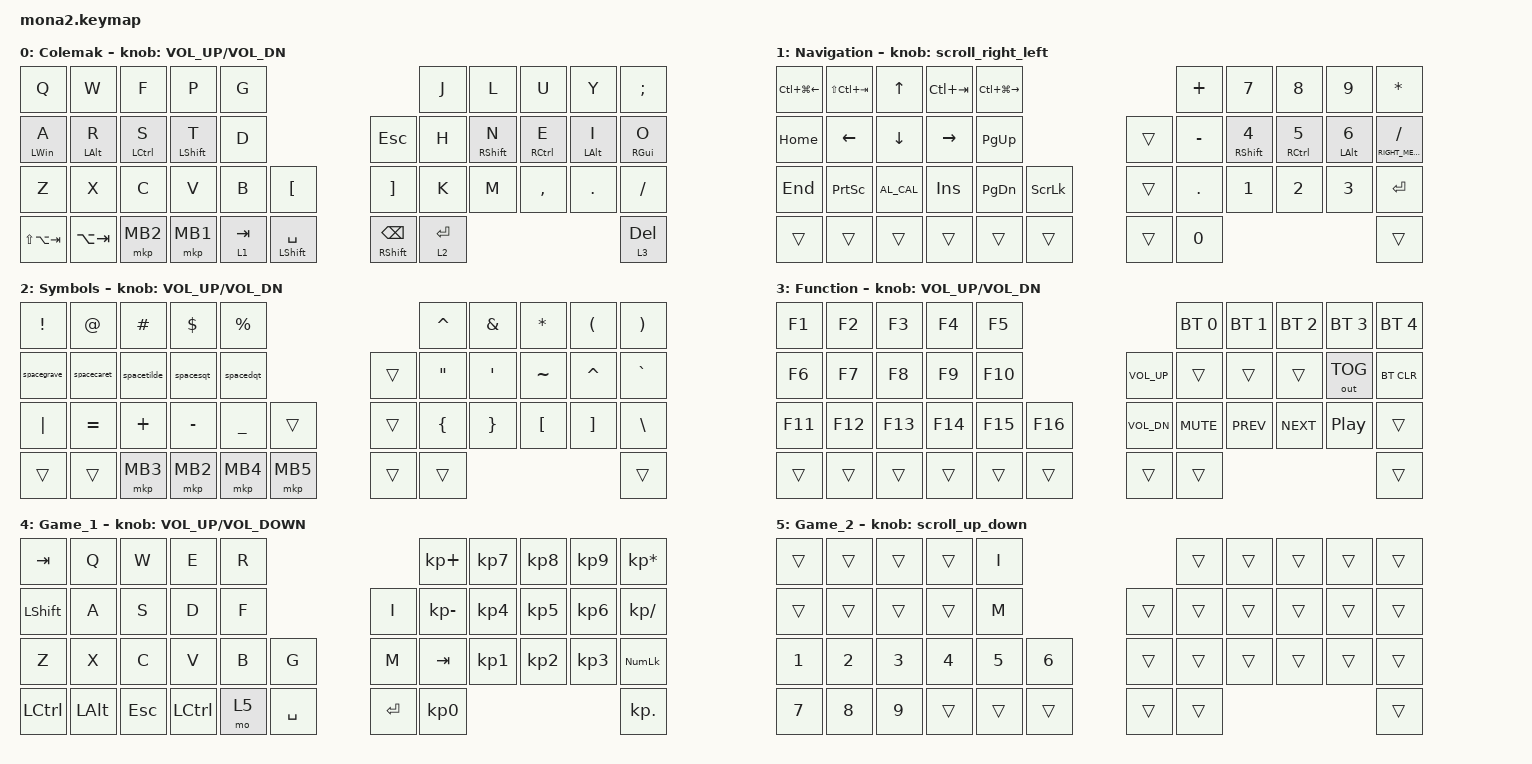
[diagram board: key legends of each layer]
#include <input/processors.dtsi>
#include <dt-bindings/zmk/input_transform.h>
#include <zephyr/dt-bindings/input/input-event-codes.h>
#include <behaviors.dtsi>
#include <dt-bindings/zmk/bt.h>
#include <dt-bindings/zmk/keys.h>
#include <dt-bindings/zmk/outputs.h>
#include <dt-bindings/zmk/pointing.h>

#define ZMK_POINTING_DEFAULT_SCRL_VAL 100
#define MOUSE 5
#define SCROLL 6

&mt {
    flavor = "balanced";
    quick-tap-ms = <0>;
};

&lt { flavor = "hold-preferred"; };

/ {
    combos {
        compatible = "zmk,combos";

        game1_layer {
            bindings = <&tog 4>;
            key-positions = <0 33>;
            layers = <0 1 2 3 5>;
            require-prior-idle-ms = <100>;
        };

        default_layer {
            bindings = <&to 0>;
            key-positions = <0 33>;
            layers = <4>;
            require-prior-idle-ms = <100>;
        };

        caps_word {
            bindings = <&caps_word>;
            key-positions = <38 39>;
            layers = <0>;
            require-prior-idle-ms = <100>;
        };

        backspace {
            bindings = <&kp BACKSPACE>;
            key-positions = <4 3>;
            layers = <0>;
            require-prior-idle-ms = <100>;
        };

        delete {
            bindings = <&kp DEL>;
            key-positions = <14 13>;
            layers = <0>;
            require-prior-idle-ms = <100>;
        };

        enter {
            bindings = <&kp ENTER>;
            key-positions = <25 24>;
            layers = <0>;
            require-prior-idle-ms = <100>;
        };

        esc {
            bindings = <&kp ESC>;
            key-positions = <0 1>;
            layers = <0 4>;
            require-prior-idle-ms = <100>;
        };
    };

    macros {
        spacedqt: spacedqt {
            compatible = "zmk,behavior-macro";
            #binding-cells = <0>;
            bindings = <&kp DQT &kp SPACE>;
            label = "SPACEDQT";
        };

        spacesqt: spacesqt {
            compatible = "zmk,behavior-macro";
            #binding-cells = <0>;
            bindings = <&kp SQT &kp SPACE>;
            label = "SPACESQT";
        };

        spacetilde: spacetilde {
            compatible = "zmk,behavior-macro";
            #binding-cells = <0>;
            bindings = <&kp TILDE &kp SPACE>;
            label = "SPACETILDE";
        };

        spacecaret: spacecaret {
            compatible = "zmk,behavior-macro";
            #binding-cells = <0>;
            bindings = <&kp CARET &kp SPACE>;
            label = "SPACECARET";
        };

        spacegrave: spacegrave {
            compatible = "zmk,behavior-macro";
            #binding-cells = <0>;
            bindings = <&kp GRAVE &kp SPACE>;
            label = "SPACEGRAVE";
        };
    };

    behaviors {
        scroll_up_down: mouse_wheel_up_down {
            compatible = "zmk,behavior-sensor-rotate";
            #sensor-binding-cells = <0>;
            bindings = <&msc SCRL_DOWN>, <&msc SCRL_UP>;

            tap-ms = <20>;
        };

        scroll_right_left: mouse_wheel_right_left {
            compatible = "zmk,behavior-sensor-rotate";
            #sensor-binding-cells = <0>;
            bindings = <&msc SCRL_LEFT>, <&msc SCRL_RIGHT>;

            tap-ms = <20>;
        };

        hm: homerow_mods {
            compatible = "zmk,behavior-hold-tap";
            label = "HOMEROW_MODS";
            bindings = <&kp>, <&kp>;

            #binding-cells = <2>;
            tapping-term-ms = <280>;
            quick-tap-ms = <80>;
            flavor = "balanced";
            require-prior-idle-ms = <150>;
        };

        tm: thumb_mods {
            compatible = "zmk,behavior-hold-tap";
            label = "THUMB_MODS";
            bindings = <&kp>, <&kp>;

            #binding-cells = <2>;
            tapping-term-ms = <200>;
            quick-tap-ms = <0>;
            flavor = "balanced";
        };

        hmn: homerow_mods_nav {
            compatible = "zmk,behavior-hold-tap";
            label = "HOMEROW_MODS_NAV";
            bindings = <&kp>, <&kp>;

            #binding-cells = <2>;
            tapping-term-ms = <280>;
            quick-tap-ms = <150>;
            flavor = "balanced";
            hold-trigger-on-release;
            hold-trigger-key-positions = <0 1 2 3 4 10 12 11 14 13 21 22 24 23 25 26>;
        };
    };

    keymap {
        compatible = "zmk,keymap";

        Colemak {
            bindings = <
&kp Q            &kp W        &kp F        &kp P             &kp G                                                         &kp J        &kp L              &kp U        &kp Y       &kp SEMICOLON
&hm LEFT_WIN A   &hm LALT R   &hm LCTRL S  &hm LEFT_SHIFT T  &kp D                              &kp ESC                    &kp H        &hm RIGHT_SHIFT N  &hm RCTRL E  &hm LALT I  &hm RGUI O
&kp Z            &kp X        &kp C        &kp V             &kp B      &kp LEFT_BRACKET        &kp RIGHT_BRACKET          &kp K        &kp M              &kp COMMA    &kp DOT     &kp SLASH
&kp LS(LA(TAB))  &kp LA(TAB)  &mkp MB2     &mkp MB1          &lt 1 TAB  &mt LEFT_SHIFT SPACE    &mt RIGHT_SHIFT BACKSPACE  &lt 2 ENTER                                              &lt 3 DEL
            >;

            sensor-bindings = <&inc_dec_kp C_VOLUME_UP C_VOL_DN>;
        };

        Navigation {
            bindings = <
&kp LC(LG(LEFT))  &kp LS(LC(TAB))  &kp UP_ARROW  &kp LC(TAB)  &kp LC(LG(RIGHT))                            &kp PLUS    &kp NUMBER_7         &kp NUMBER_8   &kp NUMBER_9  &kp ASTERISK
&kp HOME          &kp LEFT         &kp DOWN      &kp RIGHT    &kp PAGE_UP                          &trans  &kp MINUS   &hmn RIGHT_SHIFT N4  &hmn RCTRL N5  &hmn LALT N6  &hmn RIGHT_META SLASH
&kp END           &kp PSCRN        &kp C_AL_CAL  &kp INS      &kp PAGE_DOWN      &kp SCROLLLOCK    &trans  &kp PERIOD  &kp N1               &kp N2         &kp N3        &kp ENTER
&trans            &trans           &trans        &trans       &trans             &trans            &trans  &kp N0                                                        &trans
            >;

            sensor-bindings = <&scroll_right_left>;
        };

        Symbols {
            bindings = <
&kp EXCL     &kp AT       &kp HASH     &kp DOLLAR  &kp PERCENT                      &kp CARET          &kp AMPERSAND     &kp ASTERISK      &kp LEFT_PARENTHESIS  &kp RIGHT_PARENTHESIS
&spacegrave  &spacecaret  &spacetilde  &spacesqt   &spacedqt                &trans  &kp DOUBLE_QUOTES  &kp SINGLE_QUOTE  &kp TILDE         &kp CARET             &kp GRAVE
&kp PIPE     &kp EQUAL    &kp PLUS     &kp MINUS   &kp UNDER    &trans      &trans  &kp LEFT_BRACE     &kp RIGHT_BRACE   &kp LEFT_BRACKET  &kp RIGHT_BRACKET     &kp BACKSLASH
&trans       &trans       &mkp MB3     &mkp MB2    &mkp MB4     &mkp MB5    &trans  &trans                                                                       &trans
            >;

            sensor-bindings = <&inc_dec_kp C_VOL_UP C_VOL_DN>;
        };

        Function {
            bindings = <
&kp F1   &kp F2   &kp F3   &kp F4   &kp F5                            &bt BT_SEL 0  &bt BT_SEL 1  &bt BT_SEL 2  &bt BT_SEL 3  &bt BT_SEL 4
&kp F6   &kp F7   &kp F8   &kp F9   &kp F10             &kp C_VOL_UP  &trans        &trans        &trans        &out OUT_TOG  &bt BT_CLR
&kp F11  &kp F12  &kp F13  &kp F14  &kp F15  &kp F16    &kp C_VOL_DN  &kp C_MUTE    &kp C_PREV    &kp C_NEXT    &kp C_PP      &trans
&trans   &trans   &trans   &trans   &trans   &trans     &trans        &trans                                                  &trans
            >;

            sensor-bindings = <&inc_dec_kp C_VOL_UP C_VOL_DN>;
        };

        Game_1 {
            bindings = <
&kp TAB         &kp Q         &kp W       &kp E      &kp R                          &kp KP_PLUS   &kp KP_N7  &kp KP_N8  &kp KP_N9  &kp KP_MULTIPLY
&kp LEFT_SHIFT  &kp A         &kp S       &kp D      &kp F               &kp I      &kp KP_MINUS  &kp KP_N4  &kp KP_N5  &kp KP_N6  &kp KP_SLASH
&kp Z           &kp X         &kp C       &kp V      &kp B  &kp G        &kp M      &kp TAB       &kp KP_N1  &kp KP_N2  &kp KP_N3  &kp KP_NUM
&kp LCTRL       &kp LEFT_ALT  &kp ESCAPE  &kp LCTRL  &mo 5  &kp SPACE    &kp ENTER  &kp KP_N0                                      &kp KP_DOT
            >;

            sensor-bindings = <&inc_dec_kp C_VOLUME_UP C_VOLUME_DOWN>;
        };

        Game_2 {
            bindings = <
&trans        &trans        &trans        &trans        &kp I                                 &trans  &trans  &trans  &trans  &trans
&trans        &trans        &trans        &trans        &kp M                         &trans  &trans  &trans  &trans  &trans  &trans
&kp NUMBER_1  &kp NUMBER_2  &kp NUMBER_3  &kp NUMBER_4  &kp NUMBER_5  &kp NUMBER_6    &trans  &trans  &trans  &trans  &trans  &trans
&kp N7        &kp N8        &kp N9        &trans        &trans        &trans          &trans  &trans                          &trans
            >;

            sensor-bindings = <&scroll_up_down>;
        };
    };
};
